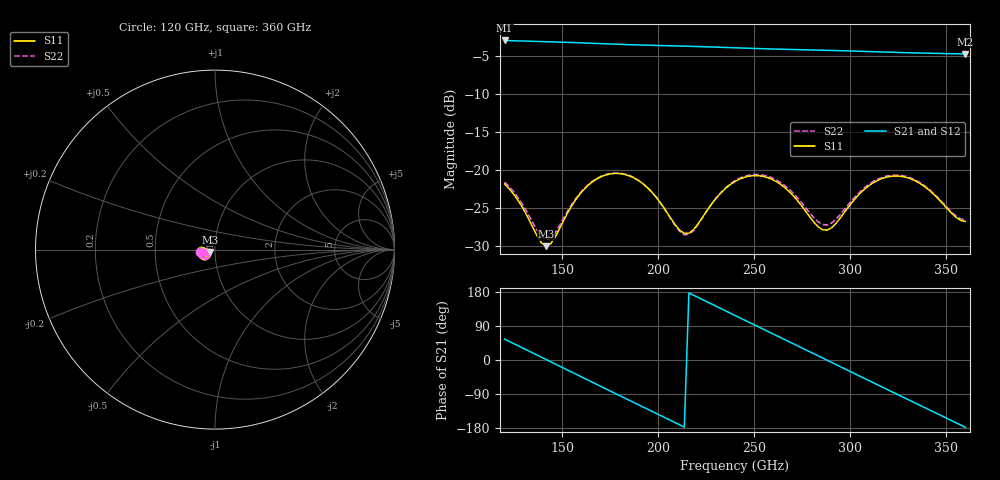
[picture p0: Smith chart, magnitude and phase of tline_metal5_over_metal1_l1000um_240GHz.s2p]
#  GHZ S DB R 50
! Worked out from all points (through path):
!   101 points, 120 GHz to 360 GHz, reference 50 ohm
!   highest |S21| = -2.89 dB at 120 GHz (marker M1); lowest = -4.7 dB at 360 GHz (marker M2)
!   group delay of S21, straight-line fit = 6.86 ps
!   lowest |S11| = -30.1 dB at 141.6 GHz (marker M3), VSWR 1.06, Z = 47.2 - j1.2 ohm
!   |S11| at or under -10 dB: start of sweep to end of sweep
!   |S22| runs from -29.2 to -20.4 dB; largest |S21 - S12| = 1.2e-13
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120  -21.86 -174.8  -2.89 55.0  -2.89 55.0  -21.60 -172.1
132  -26.21 176.1  -2.98 25.2  -2.98 25.2  -25.70 179.2
141.6  -30.06 -156.1  -3.05 1.3  -3.05 1.3  -29.23 -156.2
151.2  -26.42 -126.8  -3.13 -22.6  -3.13 -22.6  -26.14 -128.4
160.8  -22.71 -131.1  -3.21 -46.5  -3.21 -46.5  -22.59 -131.7
170.4  -20.87 -144.9  -3.31 -70.4  -3.31 -70.4  -20.79 -144.9
180  -20.47 -160.7  -3.40 -94.1  -3.40 -94.1  -20.41 -160.3
189.6  -21.37 -175.4  -3.48 -117.8  -3.48 -117.8  -21.32 -174.8
201.6  -24.49 174.2  -3.56 -147.4  -3.56 -147.4  -24.51 174.9
216  -28.33 -156.8  -3.66 176.9  -3.66 176.9  -28.50 -154.5
228  -24.43 -137.6  -3.75 147.2  -3.75 147.2  -24.40 -134.5
240  -21.51 -147.7  -3.86 117.5  -3.86 117.5  -21.40 -144.6
249.6  -20.74 -161.2  -3.94 93.9  -3.94 93.9  -20.60 -157.9
259.2  -21.22 -174.7  -4.01 70.3  -4.01 70.3  -21.02 -171.2
280.8  -26.80 179.1  -4.15 17.1  -4.15 17.1  -26.21 -177.3
288  -27.93 -161.2  -4.19 -0.7  -4.19 -0.7  -27.25 -159.7
300  -24.58 -141.2  -4.28 -30.3  -4.28 -30.3  -24.27 -140.9
312  -21.68 -149.0  -4.37 -59.9  -4.37 -59.9  -21.52 -147.9
321.6  -20.82 -161.1  -4.45 -83.4  -4.45 -83.4  -20.69 -159.4
338.4  -22.12 179.0  -4.56 -124.6  -4.56 -124.6  -22.00 -178.6
350.4  -25.06 177.0  -4.62 -154.1  -4.62 -154.1  -24.92 179.9
360  -26.79 -165.9  -4.67 -177.7  -4.67 -177.7  -26.59 -162.8
